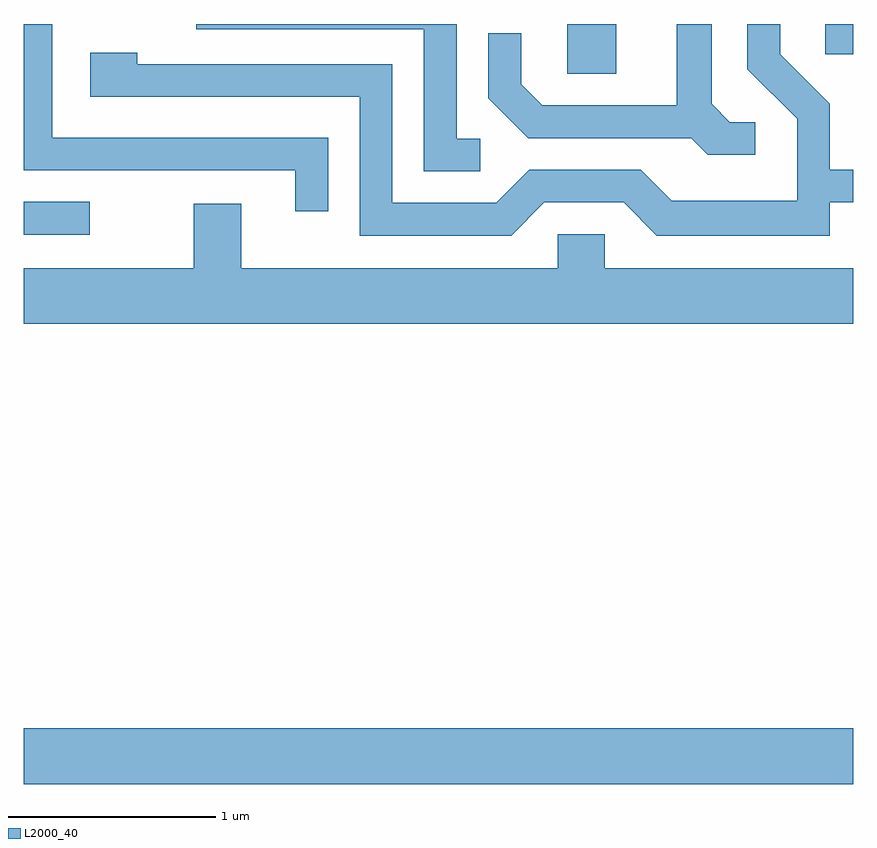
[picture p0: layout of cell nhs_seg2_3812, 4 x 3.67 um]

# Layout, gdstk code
import gdstk
lib = gdstk.Library(unit=1e-6, precision=1e-09)
def R(c, l, rs):  # rectangles x0, y0, x1, y1
    for r in rs: c.add(gdstk.rectangle(r[:2], r[2:], *l))
def P(c, l, *ps):  # polygons
    for p in ps: c.add(gdstk.Polygon(p, *l))
L2000_40 = (2000, 40)

nhs_seg2_3812 = lib.new_cell('nhs_seg2_3812')
R(nhs_seg2_3812, L2000_40, [(297.611,1006.136,301.611,1006.404), (297.611,1008.786,297.928,1008.944), (300.231,1009.561,300.469,1009.802), (301.476,1009.656,301.611,1009.802)])
P(nhs_seg2_3812, L2000_40, [(301.138,1009.329),(301.017,1009.329),(300.929,1009.417),(300.929,1009.802),(300.761,1009.802),(300.761,1009.409),(300.112,1009.409),(300.009,1009.512),(300.009,1009.758),(299.851,1009.758),(299.851,1009.444),(300.044,1009.251),(300.829,1009.251),(300.909,1009.171),(301.138,1009.171)],
  [(300.122,1008.941),(300.504,1008.941),(300.664,1008.781),(301.499,1008.781),(301.499,1008.941),(301.611,1008.941),(301.611,1009.099),(301.499,1009.099),(301.499,1009.417),(301.259,1009.657),(301.259,1009.802),(301.101,1009.802),(301.101,1009.584),(301.341,1009.344),(301.341,1008.949),(300.737,1008.949),(300.587,1009.099),(300.049,1009.099),(299.889,1008.939),(299.389,1008.939),(299.389,1009.609),(298.159,1009.609),(298.159,1009.664),(297.931,1009.664),(297.931,1009.451),(299.231,1009.451),(299.231,1008.781),(299.962,1008.781)],
  [(299.813,1009.249),(299.699,1009.249),(299.699,1009.802),(298.443,1009.802),(298.443,1009.776),(299.541,1009.776),(299.541,1009.091),(299.813,1009.091)],
  [(299.079,1009.254),(297.749,1009.254),(297.749,1009.802),(297.611,1009.802),(297.611,1009.096),(298.921,1009.096),(298.921,1008.898),(299.079,1008.898)],
  [(301.611,1008.624),(300.414,1008.624),(300.414,1008.789),(300.186,1008.789),(300.186,1008.624),(298.659,1008.624),(298.659,1008.934),(298.431,1008.934),(298.431,1008.624),(297.611,1008.624),(297.611,1008.356),(301.611,1008.356)])

lib.write_gds('nhs_seg2_3812.gds')
